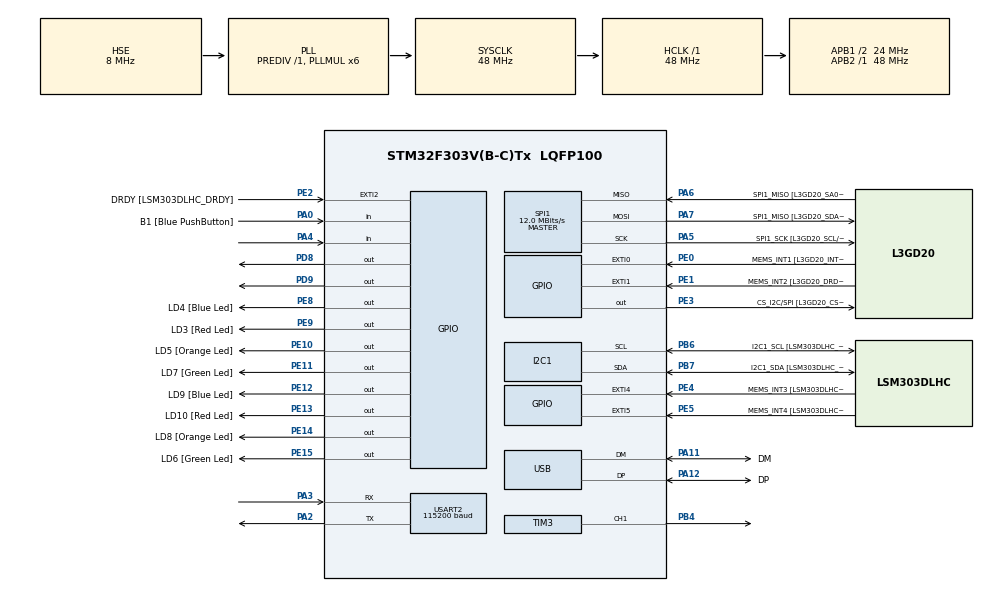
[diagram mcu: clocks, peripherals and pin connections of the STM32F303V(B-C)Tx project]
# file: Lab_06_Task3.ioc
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I2C1.Timing=0x2000090E
I2C1.Timing-I2C=0x2000090E
Mcu.Family=STM32F3
Mcu.Name=STM32F303V(B-C)Tx
Mcu.Package=LQFP100
NVIC.PriorityGroup=NVIC_PRIORITYGROUP_0
PA0.GPIO_Label=B1 [Blue PushButton]
PA0.Signal=GPIO_Input
PA11.GPIO_Label=DM
PA11.Mode=Device
PA11.Signal=USB_DM
PA12.GPIO_Label=DP
PA12.Mode=Device
PA12.Signal=USB_DP
PA13.GPIO_Label=SWDIO
PA13.Mode=Serial_Wire
PA13.Signal=SYS_JTMS-SWDIO
PA14.GPIO_Label=SWCLK
PA14.Mode=Serial_Wire
PA14.Signal=SYS_JTCK-SWCLK
PA2.Mode=Asynchronous
PA2.Signal=USART2_TX
PA3.Mode=Asynchronous
PA3.Signal=USART2_RX
PA4.GPIO_PuPd=GPIO_PULLUP
PA4.Signal=GPIO_Input
PA5.GPIO_Label=SPI1_SCK [L3GD20_SCL/SPC]
PA5.Mode=Full_Duplex_Master
PA5.Signal=SPI1_SCK
PA6.GPIO_Label=SPI1_MISO [L3GD20_SA0/SDO]
PA6.Mode=Full_Duplex_Master
PA6.Signal=SPI1_MISO
PA7.GPIO_Label=SPI1_MISO [L3GD20_SDA/SDI/SDO]
PA7.Mode=Full_Duplex_Master
PA7.Signal=SPI1_MOSI
PB3.GPIO_Label=SWO
PB3.Signal=SYS_JTDO-TRACESWO
PB4.Signal=S_TIM3_CH1
PB6.GPIO_Label=I2C1_SCL [LSM303DLHC_SCL]
PB6.GPIO_Pu=GPIO_PULLUP
PB6.Mode=I2C
PB6.Signal=I2C1_SCL
PB7.GPIO_Label=I2C1_SDA [LSM303DLHC_SDA]
PB7.GPIO_Pu=GPIO_PULLUP
PB7.Mode=I2C
PB7.Signal=I2C1_SDA
PC14-OSC32_IN.GPIO_Label=OSC32_IN
PC14-OSC32_IN.Signal=RCC_OSC32_IN
PC15-OSC32_OUT.GPIO_Label=OSC32_OUT
PC15-OSC32_OUT.Signal=RCC_OSC32_OUT
PD8.Signal=GPIO_Output
PD9.Signal=GPIO_Output
PE0.GPIO_Label=MEMS_INT1 [L3GD20_INT1]
PE0.GPIO_ModeDefaultEXTI=GPIO_MODE_EVT_RISING
PE0.Signal=GPXTI0
PE1.GPIO_Label=MEMS_INT2 [L3GD20_DRDY/INT2]
PE1.GPIO_ModeDefaultEXTI=GPIO_MODE_EVT_RISING
PE1.Signal=GPXTI1
PE10.GPIO_Label=LD5 [Orange Led]
PE10.Signal=GPIO_Output
PE11.GPIO_Label=LD7 [Green Led]
PE11.Signal=GPIO_Output
PE12.GPIO_Label=LD9 [Blue Led]
PE12.Signal=GPIO_Output
PE13.GPIO_Label=LD10 [Red Led]
PE13.Signal=GPIO_Output
PE14.GPIO_Label=LD8 [Orange Led]
PE14.Signal=GPIO_Output
PE15.GPIO_Label=LD6 [Green Led]
PE15.Signal=GPIO_Output
PE2.GPIO_Label=DRDY [LSM303DLHC_DRDY]
PE2.GPIO_ModeDefaultEXTI=GPIO_MODE_EVT_RISING
PE2.Signal=GPXTI2
PE3.GPIO_Label=CS_I2C/SPI [L3GD20_CS_I2C/SPI]
PE3.Signal=GPIO_Output
PE4.GPIO_Label=MEMS_INT3 [LSM303DLHC_INT1]
PE4.GPIO_ModeDefaultEXTI=GPIO_MODE_EVT_RISING
PE4.Signal=GPXTI4
PE5.GPIO_Label=MEMS_INT4 [LSM303DLHC_INT2]
PE5.GPIO_ModeDefaultEXTI=GPIO_MODE_EVT_RISING
PE5.Signal=GPXTI5
PE8.GPIO_Label=LD4 [Blue Led]
PE8.Signal=GPIO_Output
PE9.GPIO_Label=LD3 [Red Led]
PE9.Signal=GPIO_Output
PF0-OSC_IN.GPIO_Label=OSC_IN
PF0-OSC_IN.Mode=HSE-External-Clock-Source
PF0-OSC_IN.Signal=RCC_OSC_IN
PF1-OSC_OUT.GPIO_Label=OSC_OUT
PF1-OSC_OUT.Signal=RCC_OSC_OUT
ProjectManager.HeapSize=0x200
ProjectManager.StackSize=0x400
ProjectManager.TargetToolchain=CMake
RCC.AHBFreq_Value=48000000
RCC.APB1CLKDivider=RCC_HCLK_DIV2
RCC.APB1Freq_Value=24000000
RCC.APB1TimFreq_Value=48000000
RCC.APB2Freq_Value=48000000
RCC.APB2TimFreq_Value=48000000
RCC.CortexFreq_Value=48000000
RCC.HCLKFreq_Value=48000000
RCC.HSE_VALUE=8000000
RCC.HSI_VALUE=8000000
RCC.LSE_VALUE=32768
RCC.PLLMUL=RCC_PLL_MUL6
RCC.SYSCLKFreq_VALUE=48000000
RCC.SYSCLKSourceVirtual=RCC_SYSCLKSOURCE_PLLCLK
RCC.USBFreq_Value=48000000
SH.S_TIM3_CH1.0=TIM3_CH1,PWM Generation1 CH1
SPI1.BaudRatePrescaler=SPI_BAUDRATEPRESCALER_4
SPI1.BaudRatePrescaler-Full_Duplex_Master=SPI_BAUDRATEPRESCALER_2
SPI1.CalculateBaudRate=12.0 MBits/s
SPI1.CalculateBaudRate-Full_Duplex_Master=24.0 MBits/s
SPI1.Direction=SPI_DIRECTION_2LINES
SPI1.Mode=SPI_MODE_MASTER
SPI1.Mode-Full_Duplex_Master=SPI_MODE_MASTER
SPI1.VirtualType=VM_MASTER
TIM2.Period=65535
TIM2.Prescaler=47
TIM3.Channel-PWM\ Generation1\ CH1=TIM_CHANNEL_1
TIM3.Period=999
TIM3.Prescaler=47
TIM3.Pulse-PWM\ Generation1\ CH1=500
USART2.BaudRate=115200
USART2.VirtualMode-Asynchronous=VM_ASYNC
VP_TIM2_VS_ClockSourceINT.Mode=Internal
board=STM32F3DISCOVERY

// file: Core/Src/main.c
/* USER CODE BEGIN Header */
/**
  ******************************************************************************
  * @file           : main.c
  * @brief          : Main program body
  ******************************************************************************
  * @attention
  *
  * Copyright (c) 2026 STMicroelectronics.
  * All rights reserved.
  *
  * This software is licensed under terms that can be found in the LICENSE file
  * in the root directory of this software component.
  * If no LICENSE file comes with this software, it is provided AS-IS.
  *
  ******************************************************************************
  */
/* USER CODE END Header */
#include "main.h"

/* USER CODE BEGIN Includes */
#include <string.h>
#include <stdio.h>
#include <stdarg.h>
/* USER CODE END Includes */

I2C_HandleTypeDef hi2c1;

SPI_HandleTypeDef hspi1;

TIM_HandleTypeDef htim2;
TIM_HandleTypeDef htim3;

UART_HandleTypeDef huart2;

PCD_HandleTypeDef hpcd_USB_FS;

/* USER CODE BEGIN PV */
//TASK 3----------------------------------------------------------------------
// // TIM2: 48 MHz, PSC=47 => 1 us per tick => timer frequency = 1,000,000 Hz
// #define TIMER_HZ   1000000u

// // Encoder PPR (pulses per revolution) - SET THIS CORRECTLY
// #define PPR        20u     // <-- change to your encoder PPR

// uint32_t last_print = 0;
//TASK4-----------------------------------------------------------------------
// 48MHz with PSC=47 => 1us tick => 1,000,000 ticks/sec
#define TIMER_HZ 1000000u

// From your results, PPR is 20
#define PPR 20u

volatile uint32_t ic1 = 0;
volatile uint32_t ic2 = 0;
volatile uint32_t period_us = 0;
volatile uint8_t  got_first = 0;
volatile uint8_t  new_data = 0;

uint32_t last_print = 0;

/* USER CODE END PV */

void SystemClock_Config(void);
static void MX_GPIO_Init(void);
static void MX_I2C1_Init(void);
static void MX_SPI1_Init(void);
static void MX_TIM2_Init(void);
static void MX_TIM3_Init(void);
static void MX_USART2_UART_Init(void);
static void MX_USB_PCD_Init(void);

/* USER CODE BEGIN 0 */
// -------- UART2 myprintf (NO float) --------
void myprintf(const char *fmt, ...)
{
  char buffer[128];
  va_list args;
  va_start(args, fmt);
  vsnprintf(buffer, sizeof(buffer), fmt, args);
  va_end(args);

  HAL_UART_Transmit(&huart2, (uint8_t*)buffer, strlen(buffer), HAL_MAX_DELAY);
}

// -------- wait for FALLING edge using polling --------
static void wait_falling(GPIO_TypeDef *port, uint16_t pin)
{
  // Ensure we start from HIGH (avoid catching the same level)
  while (HAL_GPIO_ReadPin(port, pin) == GPIO_PIN_RESET) { }
  // Wait HIGH -> LOW
  while (HAL_GPIO_ReadPin(port, pin) == GPIO_PIN_SET) { }
}
void HAL_TIM_IC_CaptureCallback(TIM_HandleTypeDef *htim)
{
  if(htim->Instance == TIM2 && htim->Channel == HAL_TIM_ACTIVE_CHANNEL_1)
  {
    if(!got_first)
    {
      ic1 = HAL_TIM_ReadCapturedValue(htim, TIM_CHANNEL_1);
      got_first = 1;
    }
    else
    {
      ic2 = HAL_TIM_ReadCapturedValue(htim, TIM_CHANNEL_1);

      if(ic2 >= ic1) period_us = ic2 - ic1;
      else           period_us = (65535 - ic1) + ic2 + 1;

      got_first = 0;
      new_data  = 1;
    }
  }
}

/* USER CODE END 0 */

int main(void)
{

  /* MCU Configuration--------------------------------------------------------*/

  /* Reset of all peripherals, Initializes the Flash interface and the Systick. */

  HAL_Init();

  /* Configure the system clock */
  SystemClock_Config();

  /* Initialize all configured peripherals */
  MX_GPIO_Init();
  MX_I2C1_Init();
  MX_SPI1_Init();
  MX_TIM2_Init();
  MX_TIM3_Init();
  MX_USART2_UART_Init();
  MX_USB_PCD_Init();
  /* USER CODE BEGIN 2 */
  //TASK3-----------------------------------------------------------------------------------
// ----- Right motor control (from your table) -----
// Shield D8  -> PD8 (DIR1)
// Shield D12 -> PD9 (DIR2)
// Shield D10 -> PB4 (PWM)

// Start PWM (TIM3 CH1 on PB4 assumed from your previous labs)
// HAL_TIM_PWM_Start(&htim3, TIM_CHANNEL_1);

// // Direction: Forward => D8=HIGH, D12=LOW
// HAL_GPIO_WritePin(GPIOD, GPIO_PIN_8, GPIO_PIN_SET);
// HAL_GPIO_WritePin(GPIOD, GPIO_PIN_9, GPIO_PIN_RESET);

// // Set duty cycle (example assumes ARR=999 => 50% = 500)
// __HAL_TIM_SET_COMPARE(&htim3, TIM_CHANNEL_1, 500);

// // Start TIM2 base (for timing encoder pulses)
// HAL_TIM_Base_Start(&htim2);

// myprintf("Task3: Encoder RPM (Polling) + Right Motor PWM\r\n");

// ---- Start motor (Right motor) ----
// D8->PD8, D12->PD9, D10(PWM)->PB4(TIM3_CH1)
HAL_TIM_PWM_Start(&htim3, TIM_CHANNEL_1);

// Forward: D8=HIGH, D12=LOW
HAL_GPIO_WritePin(GPIOD, GPIO_PIN_8, GPIO_PIN_SET);
HAL_GPIO_WritePin(GPIOD, GPIO_PIN_9, GPIO_PIN_RESET);

// Duty (assumes ARR=999; change compare as you want)
__HAL_TIM_SET_COMPARE(&htim3, TIM_CHANNEL_1, 500);

// ---- Start input capture for encoder on TIM2 CH1 (PA0) ----
HAL_TIM_IC_Start_IT(&htim2, TIM_CHANNEL_1);

myprintf("Task4: Encoder RPM using TIM2_CH1 Input Capture (PA0)\r\n");

  /* USER CODE END 2 */

  /* Infinite loop */
  /* USER CODE BEGIN WHILE */
while (1)
{
  // Encoder pin: Shield D4 -> PA4
  // Measure time between two consecutive FALLING edges
  //TASK3-----------------------------------------------------------------------------------------
  // __HAL_TIM_SET_COUNTER(&htim2, 0);

  // // first falling edge
  // wait_falling(GPIOA, GPIO_PIN_4);

  // __HAL_TIM_SET_COUNTER(&htim2, 0);

  // wait_falling(GPIOA, GPIO_PIN_4);

  // uint32_t period_us = __HAL_TIM_GET_COUNTER(&htim2); // ticks in us

  // if (period_us > 0)
  // {
  //   uint32_t freq_hz = TIMER_HZ / period_us;

  //   uint32_t rpm = (uint32_t)((60ull * (uint64_t)freq_hz) / (uint64_t)PPR);

  //   if (HAL_GetTick() - last_print >= 200)
  //   {
  //     last_print = HAL_GetTick();
  //     myprintf("period=%lu us, f=%lu Hz, rpm=%lu\r\n", period_us, freq_hz, rpm);
  //   }
  // }

  if(new_data)
  {
    new_data = 0;

    if(period_us > 0)
    {
      uint32_t freq_hz = TIMER_HZ / period_us;                 // Hz (integer)
      uint32_t rpm = (uint32_t)((60ull * freq_hz) / PPR);      // RPM (integer)

      // print every ~200ms
      if(HAL_GetTick() - last_print >= 200)
      {
        last_print = HAL_GetTick();
        myprintf("period=%lu us, f=%lu Hz, rpm=%lu\r\n", period_us, freq_hz, rpm);
      }
    }
  }

    /* USER CODE END WHILE */

  }

}
void SystemClock_Config(void)
{
  RCC_OscInitTypeDef RCC_OscInitStruct = {0};
  RCC_ClkInitTypeDef RCC_ClkInitStruct = {0};
  RCC_PeriphCLKInitTypeDef PeriphClkInit = {0};

  /** Initializes the RCC Oscillators according to the specified parameters
  * in the RCC_OscInitTypeDef structure.
  */
  RCC_OscInitStruct.OscillatorType = RCC_OSCILLATORTYPE_HSI|RCC_OSCILLATORTYPE_HSE;
  RCC_OscInitStruct.HSEState = RCC_HSE_BYPASS;
  RCC_OscInitStruct.HSEPredivValue = RCC_HSE_PREDIV_DIV1;
  RCC_OscInitStruct.HSIState = RCC_HSI_ON;
  RCC_OscInitStruct.HSICalibrationValue = RCC_HSICALIBRATION_DEFAULT;
  RCC_OscInitStruct.PLL.PLLState = RCC_PLL_ON;
  RCC_OscInitStruct.PLL.PLLSource = RCC_PLLSOURCE_HSE;
  RCC_OscInitStruct.PLL.PLLMUL = RCC_PLL_MUL6;
  if (HAL_RCC_OscConfig(&RCC_OscInitStruct) != HAL_OK)
  {
    Error_Handler();
  }

  /** Initializes the CPU, AHB and APB buses clocks
  */
  RCC_ClkInitStruct.ClockType = RCC_CLOCKTYPE_HCLK|RCC_CLOCKTYPE_SYSCLK
                              |RCC_CLOCKTYPE_PCLK1|RCC_CLOCKTYPE_PCLK2;
  RCC_ClkInitStruct.SYSCLKSource = RCC_SYSCLKSOURCE_PLLCLK;
  RCC_ClkInitStruct.AHBCLKDivider = RCC_SYSCLK_DIV1;
  RCC_ClkInitStruct.APB1CLKDivider = RCC_HCLK_DIV2;
  RCC_ClkInitStruct.APB2CLKDivider = RCC_HCLK_DIV1;

  if (HAL_RCC_ClockConfig(&RCC_ClkInitStruct, FLASH_LATENCY_1) != HAL_OK)
  {
    Error_Handler();
  }
  PeriphClkInit.PeriphClockSelection = RCC_PERIPHCLK_USB|RCC_PERIPHCLK_USART2
                              |RCC_PERIPHCLK_I2C1;
  PeriphClkInit.Usart2ClockSelection = RCC_USART2CLKSOURCE_PCLK1;
  PeriphClkInit.I2c1ClockSelection = RCC_I2C1CLKSOURCE_HSI;
  PeriphClkInit.USBClockSelection = RCC_USBCLKSOURCE_PLL;
  if (HAL_RCCEx_PeriphCLKConfig(&PeriphClkInit) != HAL_OK)
  {
    Error_Handler();
  }
}

static void MX_I2C1_Init(void)
{

  hi2c1.Instance = I2C1;
  hi2c1.Init.Timing = 0x2000090E;
  hi2c1.Init.OwnAddress1 = 0;
  hi2c1.Init.AddressingMode = I2C_ADDRESSINGMODE_7BIT;
  hi2c1.Init.DualAddressMode = I2C_DUALADDRESS_DISABLE;
  hi2c1.Init.OwnAddress2 = 0;
  hi2c1.Init.OwnAddress2Masks = I2C_OA2_NOMASK;
  hi2c1.Init.GeneralCallMode = I2C_GENERALCALL_DISABLE;
  hi2c1.Init.NoStretchMode = I2C_NOSTRETCH_DISABLE;
  if (HAL_I2C_Init(&hi2c1) != HAL_OK)
  {
    Error_Handler();
  }

  /** Configure Analogue filter
  */
  if (HAL_I2CEx_ConfigAnalogFilter(&hi2c1, I2C_ANALOGFILTER_ENABLE) != HAL_OK)
  {
    Error_Handler();
  }

  /** Configure Digital filter
  */
  if (HAL_I2CEx_ConfigDigitalFilter(&hi2c1, 0) != HAL_OK)
  {
    Error_Handler();
  }

}

static void MX_SPI1_Init(void)
{

  /* SPI1 parameter configuration*/
  hspi1.Instance = SPI1;
  hspi1.Init.Mode = SPI_MODE_MASTER;
  hspi1.Init.Direction = SPI_DIRECTION_2LINES;
  hspi1.Init.DataSize = SPI_DATASIZE_4BIT;
  hspi1.Init.CLKPolarity = SPI_POLARITY_LOW;
  hspi1.Init.CLKPhase = SPI_PHASE_1EDGE;
  hspi1.Init.NSS = SPI_NSS_SOFT;
  hspi1.Init.BaudRatePrescaler = SPI_BAUDRATEPRESCALER_4;
  hspi1.Init.FirstBit = SPI_FIRSTBIT_MSB;
  hspi1.Init.TIMode = SPI_TIMODE_DISABLE;
  hspi1.Init.CRCCalculation = SPI_CRCCALCULATION_DISABLE;
  hspi1.Init.CRCPolynomial = 7;
  hspi1.Init.CRCLength = SPI_CRC_LENGTH_DATASIZE;
  hspi1.Init.NSSPMode = SPI_NSS_PULSE_ENABLE;
  if (HAL_SPI_Init(&hspi1) != HAL_OK)
  {
    Error_Handler();
  }

}

static void MX_TIM2_Init(void)
{

  TIM_ClockConfigTypeDef sClockSourceConfig = {0};
  TIM_MasterConfigTypeDef sMasterConfig = {0};
  TIM_IC_InitTypeDef sConfigIC = {0};

  htim2.Instance = TIM2;
  htim2.Init.Prescaler = 47;
  htim2.Init.CounterMode = TIM_COUNTERMODE_UP;
  htim2.Init.Period = 65535;
  htim2.Init.ClockDivision = TIM_CLOCKDIVISION_DIV1;
  htim2.Init.AutoReloadPreload = TIM_AUTORELOAD_PRELOAD_DISABLE;
  if (HAL_TIM_Base_Init(&htim2) != HAL_OK)
  {
    Error_Handler();
  }
  sClockSourceConfig.ClockSource = TIM_CLOCKSOURCE_INTERNAL;
  if (HAL_TIM_ConfigClockSource(&htim2, &sClockSourceConfig) != HAL_OK)
  {
    Error_Handler();
  }
  if (HAL_TIM_IC_Init(&htim2) != HAL_OK)
  {
    Error_Handler();
  }
  sMasterConfig.MasterOutputTrigger = TIM_TRGO_RESET;
  sMasterConfig.MasterSlaveMode = TIM_MASTERSLAVEMODE_DISABLE;
  if (HAL_TIMEx_MasterConfigSynchronization(&htim2, &sMasterConfig) != HAL_OK)
  {
    Error_Handler();
  }
  sConfigIC.ICPolarity = TIM_INPUTCHANNELPOLARITY_RISING;
  sConfigIC.ICSelection = TIM_ICSELECTION_DIRECTTI;
  sConfigIC.ICPrescaler = TIM_ICPSC_DIV1;
  sConfigIC.ICFilter = 0;
  if (HAL_TIM_IC_ConfigChannel(&htim2, &sConfigIC, TIM_CHANNEL_1) != HAL_OK)
  {
    Error_Handler();
  }

}

static void MX_TIM3_Init(void)
{

  TIM_MasterConfigTypeDef sMasterConfig = {0};
  TIM_OC_InitTypeDef sConfigOC = {0};

  htim3.Instance = TIM3;
  htim3.Init.Prescaler = 47;
  htim3.Init.CounterMode = TIM_COUNTERMODE_UP;
  htim3.Init.Period = 999;
  htim3.Init.ClockDivision = TIM_CLOCKDIVISION_DIV1;
  htim3.Init.AutoReloadPreload = TIM_AUTORELOAD_PRELOAD_DISABLE;
  if (HAL_TIM_PWM_Init(&htim3) != HAL_OK)
  {
    Error_Handler();
  }
  sMasterConfig.MasterOutputTrigger = TIM_TRGO_RESET;
  sMasterConfig.MasterSlaveMode = TIM_MASTERSLAVEMODE_DISABLE;
  if (HAL_TIMEx_MasterConfigSynchronization(&htim3, &sMasterConfig) != HAL_OK)
  {
    Error_Handler();
  }
  sConfigOC.OCMode = TIM_OCMODE_PWM1;
  sConfigOC.Pulse = 500;
  sConfigOC.OCPolarity = TIM_OCPOLARITY_HIGH;
  sConfigOC.OCFastMode = TIM_OCFAST_DISABLE;
  if (HAL_TIM_PWM_ConfigChannel(&htim3, &sConfigOC, TIM_CHANNEL_1) != HAL_OK)
  {
    Error_Handler();
  }
  HAL_TIM_MspPostInit(&htim3);

}

static void MX_USART2_UART_Init(void)
{

  huart2.Instance = USART2;
  huart2.Init.BaudRate = 115200;
  huart2.Init.WordLength = UART_WORDLENGTH_8B;
  huart2.Init.StopBits = UART_STOPBITS_1;
  huart2.Init.Parity = UART_PARITY_NONE;
  huart2.Init.Mode = UART_MODE_TX_RX;
  huart2.Init.HwFlowCtl = UART_HWCONTROL_NONE;
  huart2.Init.OverSampling = UART_OVERSAMPLING_16;
  huart2.Init.OneBitSampling = UART_ONE_BIT_SAMPLE_DISABLE;
  huart2.AdvancedInit.AdvFeatureInit = UART_ADVFEATURE_NO_INIT;
  if (HAL_UART_Init(&huart2) != HAL_OK)
  {
    Error_Handler();
  }

}

static void MX_USB_PCD_Init(void)
{

  hpcd_USB_FS.Instance = USB;
  hpcd_USB_FS.Init.dev_endpoints = 8;
  hpcd_USB_FS.Init.speed = PCD_SPEED_FULL;
  hpcd_USB_FS.Init.phy_itface = PCD_PHY_EMBEDDED;
  hpcd_USB_FS.Init.low_power_enable = DISABLE;
  hpcd_USB_FS.Init.battery_charging_enable = DISABLE;
  if (HAL_PCD_Init(&hpcd_USB_FS) != HAL_OK)
  {
    Error_Handler();
  }

}

static void MX_GPIO_Init(void)
{
  GPIO_InitTypeDef GPIO_InitStruct = {0};

  /* GPIO Ports Clock Enable */
  __HAL_RCC_GPIOE_CLK_ENABLE();
  __HAL_RCC_GPIOC_CLK_ENABLE();
  __HAL_RCC_GPIOF_CLK_ENABLE();
  __HAL_RCC_GPIOA_CLK_ENABLE();
  __HAL_RCC_GPIOD_CLK_ENABLE();
  __HAL_RCC_GPIOB_CLK_ENABLE();

  /*Configure GPIO pin Output Level */
  HAL_GPIO_WritePin(GPIOE, CS_I2C_SPI_Pin|LD4_Pin|LD3_Pin|LD5_Pin
                          |LD7_Pin|LD9_Pin|LD10_Pin|LD8_Pin
                          |LD6_Pin, GPIO_PIN_RESET);

  /*Configure GPIO pin Output Level */
  HAL_GPIO_WritePin(GPIOD, GPIO_PIN_8|GPIO_PIN_9, GPIO_PIN_RESET);

  /*Configure GPIO pins : DRDY_Pin MEMS_INT3_Pin MEMS_INT4_Pin MEMS_INT1_Pin
                           MEMS_INT2_Pin */
  GPIO_InitStruct.Pin = DRDY_Pin|MEMS_INT3_Pin|MEMS_INT4_Pin|MEMS_INT1_Pin
                          |MEMS_INT2_Pin;
  GPIO_InitStruct.Mode = GPIO_MODE_EVT_RISING;
  GPIO_InitStruct.Pull = GPIO_NOPULL;
  HAL_GPIO_Init(GPIOE, &GPIO_InitStruct);

  /*Configure GPIO pins : CS_I2C_SPI_Pin LD4_Pin LD3_Pin LD5_Pin
                           LD7_Pin LD9_Pin LD10_Pin LD8_Pin
                           LD6_Pin */
  GPIO_InitStruct.Pin = CS_I2C_SPI_Pin|LD4_Pin|LD3_Pin|LD5_Pin
                          |LD7_Pin|LD9_Pin|LD10_Pin|LD8_Pin
                          |LD6_Pin;
  GPIO_InitStruct.Mode = GPIO_MODE_OUTPUT_PP;
  GPIO_InitStruct.Pull = GPIO_NOPULL;
  GPIO_InitStruct.Speed = GPIO_SPEED_FREQ_LOW;
  HAL_GPIO_Init(GPIOE, &GPIO_InitStruct);

  /*Configure GPIO pin : PA4 */
  GPIO_InitStruct.Pin = GPIO_PIN_4;
  GPIO_InitStruct.Mode = GPIO_MODE_INPUT;
  GPIO_InitStruct.Pull = GPIO_PULLUP;
  HAL_GPIO_Init(GPIOA, &GPIO_InitStruct);

  /*Configure GPIO pins : PD8 PD9 */
  GPIO_InitStruct.Pin = GPIO_PIN_8|GPIO_PIN_9;
  GPIO_InitStruct.Mode = GPIO_MODE_OUTPUT_PP;
  GPIO_InitStruct.Pull = GPIO_NOPULL;
  GPIO_InitStruct.Speed = GPIO_SPEED_FREQ_LOW;
  HAL_GPIO_Init(GPIOD, &GPIO_InitStruct);

}

void Error_Handler(void)
{
  __disable_irq();
  while (1)
  {
  }
}
